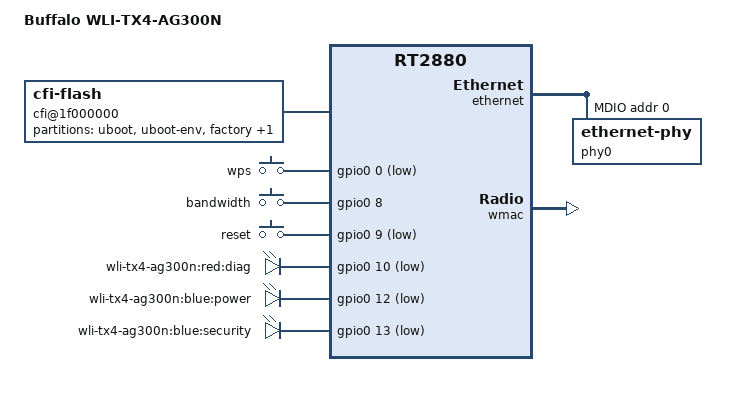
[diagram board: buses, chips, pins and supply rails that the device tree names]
/dts-v1/;

#include "rt2880.dtsi"

#include <dt-bindings/gpio/gpio.h>
#include <dt-bindings/input/input.h>

/ {
	#address-cells = <1>;
	#size-cells = <1>;
	compatible = "buffalo,wli-tx4-ag300n", "ralink,rt2880-soc";
	model = "Buffalo WLI-TX4-AG300N";

	aliases {
		led-boot = &led_power;
		led-failsafe = &led_power;
		led-running = &led_power;
		led-upgrade = &led_power;
	};

	cfi@1f000000 {
		compatible = "cfi-flash";
		reg = <0x1f000000 0x800000>;
		bank-width = <2>;
		device-width = <2>;

		partitions {
			compatible = "fixed-partitions";
			#address-cells = <1>;
			#size-cells = <1>;

			partition@0 {
				label = "uboot";
				reg = <0x0 0x30000>;
				read-only;
			};

			partition@30000 {
				label = "uboot-env";
				reg = <0x30000 0x10000>;
				read-only;
			};

			factory: partition@40000 {
				label = "factory";
				reg = <0x40000 0x10000>;
				read-only;
			};

			partition@50000 {
				compatible = "denx,uimage";
				label = "firmware";
				reg = <0x50000 0x3b0000>;
			};
		};
	};

	keys {
		compatible = "gpio-keys-polled";
		poll-interval = <100>;

		wps {
			label = "wps";
			gpios = <&gpio0 0 GPIO_ACTIVE_LOW>;
			linux,code = <KEY_WPS_BUTTON>;
		};

		bandwidth {
			label = "bandwidth";
			gpios = <&gpio0 8 GPIO_ACTIVE_HIGH>;
			linux,code = <KEY_RESTART>;
		};

		reset {
			label = "reset";
			gpios = <&gpio0 9 GPIO_ACTIVE_LOW>;
			linux,code = <KEY_RESTART>;
		};
	};

	leds {
		compatible = "gpio-leds";

		diag {
			label = "wli-tx4-ag300n:red:diag";
			gpios = <&gpio0 10 GPIO_ACTIVE_LOW>;
		};

		led_power: power {
			label = "wli-tx4-ag300n:blue:power";
			gpios = <&gpio0 12 GPIO_ACTIVE_LOW>;
		};

		security {
			label = "wli-tx4-ag300n:blue:security";
			gpios = <&gpio0 13 GPIO_ACTIVE_LOW>;
		};
	};
};

&gpio0 {
	status = "okay";
};

&ethernet {
	status = "okay";
	mtd-mac-address = <&factory 0x4>;

	port@0 {
		mediatek,fixed-link = <100 1 1 1>;
	};

	mdio-bus {
		status = "okay";

		phy0: ethernet-phy@0 {
			phy-mode = "mii";
			reg = <0>;
		};
	};
};

&wmac {
	ralink,mtd-eeprom = <&factory 0>;
};
